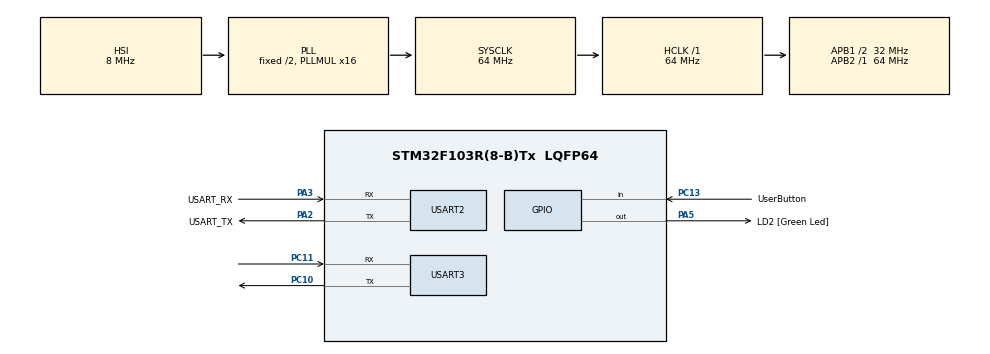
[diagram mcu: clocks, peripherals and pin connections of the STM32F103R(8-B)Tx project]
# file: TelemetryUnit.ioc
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FREERTOS.Mutexes01=huart_sim_mutex,Static,huart_sim_mutexControlBlock,Available;huart_debug_mutex,Static,huart_debug_mutexControlBlock,Available
FREERTOS.Tasks01=defaultTask,41,128,StartDefaultTask,Default,NULL,Dynamic,NULL,NULL;CommandHandler,32,128,start_command_handler,Default,NULL,Dynamic,NULL,NULL;FsmTask,40,256,start_fsm_task,Default,NULL,Dynamic,NULL,NULL
Mcu.Family=STM32F1
Mcu.Name=STM32F103R(8-B)Tx
Mcu.Package=LQFP64
NVIC.PriorityGroup=NVIC_PRIORITYGROUP_4
PA13.GPIO_Label=TMS
PA13.Mode=Serial_Wire
PA13.Signal=SYS_JTMS-SWDIO
PA14.GPIO_Label=TCK
PA14.Mode=Serial_Wire
PA14.Signal=SYS_JTCK-SWCLK
PA2.GPIO_Label=USART_TX
PA2.GPIO_Mode=GPIO_MODE_AF_PP
PA2.GPIO_PuPd=GPIO_NOPULL
PA2.GPIO_Speed=GPIO_SPEED_FREQ_LOW
PA2.Mode=Asynchronous
PA2.Signal=USART2_TX
PA3.GPIO_Label=USART_RX
PA3.GPIO_Mode=GPIO_MODE_AF_PP
PA3.GPIO_PuPd=GPIO_NOPULL
PA3.GPIO_Speed=GPIO_SPEED_FREQ_LOW
PA3.Mode=Asynchronous
PA3.Signal=USART2_RX
PA5.GPIO_Label=LD2 [Green Led]
PA5.GPIO_ModeDefaultOutputPP=GPIO_MODE_OUTPUT_PP
PA5.GPIO_PuPd=GPIO_NOPULL
PA5.GPIO_Speed=GPIO_SPEED_FREQ_LOW
PA5.Signal=GPIO_Output
PB3.GPIO_Label=SWO
PB3.Signal=SYS_JTDO-TRACESWO
PC10.Mode=Asynchronous
PC10.Signal=USART3_TX
PC11.Mode=Asynchronous
PC11.Signal=USART3_RX
PC13-TAMPER-RTC.GPIO_Label=UserButton
PC13-TAMPER-RTC.GPIO_PuPd=GPIO_PULLUP
PC13-TAMPER-RTC.Signal=GPIO_Input
PC14-OSC32_IN.Mode=LSE-External-Oscillator
PC14-OSC32_IN.Signal=RCC_OSC32_IN
PC15-OSC32_OUT.Mode=LSE-External-Oscillator
PC15-OSC32_OUT.Signal=RCC_OSC32_OUT
PD0-OSC_IN.Mode=HSE-External-Clock-Source
PD0-OSC_IN.Signal=RCC_OSC_IN
PD1-OSC_OUT.Mode=HSE-External-Clock-Source
PD1-OSC_OUT.Signal=RCC_OSC_OUT
ProjectManager.HeapSize=0x200
ProjectManager.StackSize=0x400
ProjectManager.TargetToolchain=CMake
RCC.AHBFreq_Value=64000000
RCC.APB1CLKDivider=RCC_HCLK_DIV2
RCC.APB1Freq_Value=32000000
RCC.APB1TimFreq_Value=64000000
RCC.APB2Freq_Value=64000000
RCC.APB2TimFreq_Value=64000000
RCC.HCLKFreq_Value=64000000
RCC.PLLMUL=RCC_PLL_MUL16
RCC.RTCClockSelection=RCC_RTCCLKSOURCE_LSE
RCC.SYSCLKFreq_VALUE=64000000
RCC.SYSCLKSource=RCC_SYSCLKSOURCE_PLLCLK
RCC.USBFreq_Value=64000000
USART2.VirtualMode=VM_ASYNC
USART3.VirtualMode=VM_ASYNC
VP_FREERTOS_VS_CMSIS_V2.Mode=CMSIS_V2
board=NUCLEO-F103RB

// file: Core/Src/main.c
/* USER CODE BEGIN Header */
/**
  ******************************************************************************
  * @file           : main.c
  * @brief          : Main program body
  ******************************************************************************
  * @attention
  *
  * Copyright (c) 2026 STMicroelectronics.
  * All rights reserved.
  *
  * This software is licensed under terms that can be found in the LICENSE file
  * in the root directory of this software component.
  * If no LICENSE file comes with this software, it is provided AS-IS.
  *
  ******************************************************************************
  */
/* USER CODE END Header */
#include "main.h"
#include "cmsis_os.h"
#include "usart.h"
#include "gpio.h"

void SystemClock_Config(void);
void MX_FREERTOS_Init(void);

int main(void)
{

  /* MCU Configuration--------------------------------------------------------*/

  /* Reset of all peripherals, Initializes the Flash interface and the Systick. */
  HAL_Init();

  /* Configure the system clock */
  SystemClock_Config();

  /* Initialize all configured peripherals */
  MX_GPIO_Init();
  MX_USART2_UART_Init();
  MX_USART3_UART_Init();

  /* Init scheduler */
  osKernelInitialize();  /* Call init function for freertos objects (in cmsis_os2.c) */
  MX_FREERTOS_Init();

  /* Start scheduler */
  osKernelStart();

  /* We should never get here as control is now taken by the scheduler */

  /* Infinite loop */
  while (1)
  {

  }
}

void SystemClock_Config(void)
{
  RCC_OscInitTypeDef RCC_OscInitStruct = {0};
  RCC_ClkInitTypeDef RCC_ClkInitStruct = {0};

  /** Initializes the RCC Oscillators according to the specified parameters
  * in the RCC_OscInitTypeDef structure.
  */
  RCC_OscInitStruct.OscillatorType = RCC_OSCILLATORTYPE_HSI;
  RCC_OscInitStruct.HSIState = RCC_HSI_ON;
  RCC_OscInitStruct.HSICalibrationValue = RCC_HSICALIBRATION_DEFAULT;
  RCC_OscInitStruct.PLL.PLLState = RCC_PLL_ON;
  RCC_OscInitStruct.PLL.PLLSource = RCC_PLLSOURCE_HSI_DIV2;
  RCC_OscInitStruct.PLL.PLLMUL = RCC_PLL_MUL16;
  if (HAL_RCC_OscConfig(&RCC_OscInitStruct) != HAL_OK)
  {
    Error_Handler();
  }

  /** Initializes the CPU, AHB and APB buses clocks
  */
  RCC_ClkInitStruct.ClockType = RCC_CLOCKTYPE_HCLK|RCC_CLOCKTYPE_SYSCLK
                              |RCC_CLOCKTYPE_PCLK1|RCC_CLOCKTYPE_PCLK2;
  RCC_ClkInitStruct.SYSCLKSource = RCC_SYSCLKSOURCE_PLLCLK;
  RCC_ClkInitStruct.AHBCLKDivider = RCC_SYSCLK_DIV1;
  RCC_ClkInitStruct.APB1CLKDivider = RCC_HCLK_DIV2;
  RCC_ClkInitStruct.APB2CLKDivider = RCC_HCLK_DIV1;

  if (HAL_RCC_ClockConfig(&RCC_ClkInitStruct, FLASH_LATENCY_2) != HAL_OK)
  {
    Error_Handler();
  }
}

void Error_Handler(void)
{
  __disable_irq();
  while (1)
  {
  }
}

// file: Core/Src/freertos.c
/* USER CODE BEGIN Header */
/**
  ******************************************************************************
  * File Name          : freertos.c
  * Description        : Code for freertos applications
  ******************************************************************************
  * @attention
  *
  * Copyright (c) 2026 STMicroelectronics.
  * All rights reserved.
  *
  * This software is licensed under terms that can be found in the LICENSE file
  * in the root directory of this software component.
  * If no LICENSE file comes with this software, it is provided AS-IS.
  *
  ******************************************************************************
  */
/* USER CODE END Header */

#include "FreeRTOS.h"
#include "task.h"
#include "main.h"
#include "cmsis_os.h"

/* USER CODE BEGIN Includes */
#include "../../Platform/GetDeviceId/get_device_id.h"
#include "../../App/Network/interface.h"
#include "../../App/Gnss/interface.h"
#include "../../App/Telemetry/interface.h"
#include "usart.h"
/* USER CODE END Includes */

typedef StaticSemaphore_t osStaticMutexDef_t;

/* USER CODE BEGIN Variables */

volatile bool led_state = false;
volatile bool armed = false;
volatile bool last_pin = true;

/* USER CODE END Variables */
/* Definitions for defaultTask */
osThreadId_t defaultTaskHandle;
const osThreadAttr_t defaultTask_attributes = {
  .name = "defaultTask",
  .stack_size = 128 * 4,
  .priority = (osPriority_t) osPriorityHigh1,
};
/* Definitions for CommandHandler */
osThreadId_t CommandHandlerHandle;
const osThreadAttr_t CommandHandler_attributes = {
  .name = "CommandHandler",
  .stack_size = 128 * 4,
  .priority = (osPriority_t) osPriorityAboveNormal,
};
/* Definitions for FsmTask */
osThreadId_t FsmTaskHandle;
const osThreadAttr_t FsmTask_attributes = {
  .name = "FsmTask",
  .stack_size = 256 * 4,
  .priority = (osPriority_t) osPriorityHigh,
};
/* Definitions for huart_sim_mutex */
osMutexId_t huart_sim_mutexHandle;
osStaticMutexDef_t huart_sim_mutexControlBlock;
const osMutexAttr_t huart_sim_mutex_attributes = {
  .name = "huart_sim_mutex",
  .cb_mem = &huart_sim_mutexControlBlock,
  .cb_size = sizeof(huart_sim_mutexControlBlock),
};
/* Definitions for huart_debug_mutex */
osMutexId_t huart_debug_mutexHandle;
osStaticMutexDef_t huart_debug_mutexControlBlock;
const osMutexAttr_t huart_debug_mutex_attributes = {
  .name = "huart_debug_mutex",
  .cb_mem = &huart_debug_mutexControlBlock,
  .cb_size = sizeof(huart_debug_mutexControlBlock),
};

void StartDefaultTask(void *argument);
void start_command_handler(void *argument);
void start_fsm_task(void *argument);

void MX_FREERTOS_Init(void); /* (MISRA C 2004 rule 8.1) */

void MX_FREERTOS_Init(void) {
  /* Create the mutex(es) */
  /* creation of huart_sim_mutex */
  huart_sim_mutexHandle = osMutexNew(&huart_sim_mutex_attributes);

  /* creation of huart_debug_mutex */
  huart_debug_mutexHandle = osMutexNew(&huart_debug_mutex_attributes);

  /* Create the thread(s) */
  /* creation of defaultTask */
  defaultTaskHandle = osThreadNew(StartDefaultTask, NULL, &defaultTask_attributes);

  /* creation of CommandHandler */
  CommandHandlerHandle = osThreadNew(start_command_handler, NULL, &CommandHandler_attributes);

  /* creation of FsmTask */
  FsmTaskHandle = osThreadNew(start_fsm_task, NULL, &FsmTask_attributes);

}

/* USER CODE BEGIN Header_StartDefaultTask */
/**
  * @brief  Default task, switches the operating modes: command output / normal operation
  * @param  argument: Not used
  * @retval None
  */
/* USER CODE END Header_StartDefaultTask */
void StartDefaultTask(void *argument)
{
  /* USER CODE BEGIN StartDefaultTask */
  /* Infinite loop */
  const uint32_t DEBOUNCE_MS = 30;

  bool stable_pin = HAL_GPIO_ReadPin(UserButton_GPIO_Port, UserButton_Pin);
  bool last_reading = stable_pin;
  uint32_t last_change = HAL_GetTick();

for (;;)
{
    bool pin = HAL_GPIO_ReadPin(UserButton_GPIO_Port, UserButton_Pin);

    if (pin != last_reading)
    {
        last_reading = pin;
        last_change = HAL_GetTick();
    }
    else if ((HAL_GetTick() - last_change) >= DEBOUNCE_MS && pin != stable_pin)
    {
        // Confirmed, debounced edge: only toggle on release (LOW -> HIGH)
        if (stable_pin == PIN_STATE_LOW && pin == PIN_STATE_HIGH)
        {
            HAL_GPIO_TogglePin(LD2_GPIO_Port, LD2_Pin);
            led_state = !led_state;
        }

        stable_pin = pin;
    }

    osDelay(1);
}
  /* USER CODE END StartDefaultTask */
}

/* USER CODE BEGIN Header_start_command_handler */
/**
* @brief Implements the command handler task.
* @param argument: Not used
* @retval None
*/
/* USER CODE END Header_start_command_handler */
void start_command_handler(void *argument)
{
  /* USER CODE BEGIN start_command_handler */
  /* Infinite loop */
  for(;;)
  {
    if (led_state)
    {
      check_for_device_id_request_command();
    }
    osDelay(1);
  }
  /* USER CODE END start_command_handler */
}

/* USER CODE BEGIN Header_start_fsm_task */
/**
* @brief Runs the FsmTask thread. Ticks the GNSS, network and
*        TelemetryFsm in this order (GNSS/Network must be ready
*        before Telemetry can publish).
* @param argument: Not used
* @retval None
*/
/* USER CODE END Header_start_fsm_task */
void start_fsm_task(void *argument)
{
  /* USER CODE BEGIN start_fsm_task */

  /* Infinite loop */
  for(;;)
  {
    if (!led_state)
    {
      gnss_fsm_step();
      network_fsm_step();
      telemetry_fsm_step();
    }
    osDelay(1000);
  }
  /* USER CODE END start_fsm_task */
}
